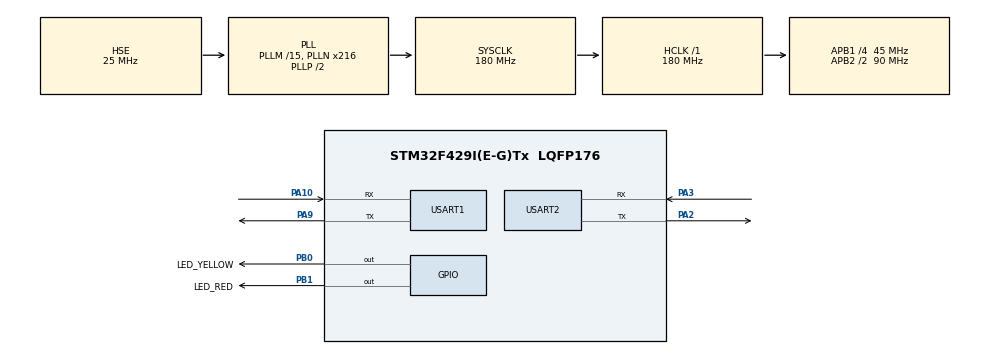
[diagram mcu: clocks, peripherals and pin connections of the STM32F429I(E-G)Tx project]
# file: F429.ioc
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Mcu.Family=STM32F4
Mcu.Name=STM32F429I(E-G)Tx
Mcu.Package=LQFP176
NVIC.PriorityGroup=NVIC_PRIORITYGROUP_4
NVIC.TIM4_IRQn=true\:3\:0\:true\:false\:true\:true\:true\:true
NVIC.USART2_IRQn=true\:2\:0\:true\:false\:true\:true\:true\:true
PA10.Mode=Asynchronous
PA10.Signal=USART1_RX
PA13.Mode=Serial_Wire
PA13.Signal=SYS_JTMS-SWDIO
PA14.Mode=Serial_Wire
PA14.Signal=SYS_JTCK-SWCLK
PA2.Mode=Asynchronous
PA2.Signal=USART2_TX
PA3.Mode=Asynchronous
PA3.Signal=USART2_RX
PA9.Mode=Asynchronous
PA9.Signal=USART1_TX
PB0.GPIO_Label=LED_YELLOW
PB0.PinState=GPIO_PIN_RESET
PB0.Signal=GPIO_Output
PB1.GPIO_Label=LED_RED
PB1.Signal=GPIO_Output
PH0/OSC_IN.Mode=HSE-External-Oscillator
PH0/OSC_IN.Signal=RCC_OSC_IN
PH1/OSC_OUT.Mode=HSE-External-Oscillator
PH1/OSC_OUT.Signal=RCC_OSC_OUT
ProjectManager.HeapSize=0x200
ProjectManager.StackSize=0x400
ProjectManager.TargetToolchain=MDK-ARM V5
RCC.48MHZClocksFreq_Value=90000000
RCC.AHBFreq_Value=180000000
RCC.APB1CLKDivider=RCC_HCLK_DIV4
RCC.APB1Freq_Value=45000000
RCC.APB1TimFreq_Value=90000000
RCC.APB2CLKDivider=RCC_HCLK_DIV2
RCC.APB2Freq_Value=90000000
RCC.APB2TimFreq_Value=180000000
RCC.CortexFreq_Value=180000000
RCC.HCLKFreq_Value=180000000
RCC.HSE_VALUE=25000000
RCC.HSI_VALUE=16000000
RCC.LSE_VALUE=32768
RCC.PLLM=15
RCC.PLLN=216
RCC.PLLSourceVirtual=RCC_PLLSOURCE_HSE
RCC.SYSCLKFreq_VALUE=180000000
RCC.SYSCLKSource=RCC_SYSCLKSOURCE_PLLCLK
RCC.VCOOutputFreq_Value=360000000
TIM4.Period=35
TIM4.Prescaler=4500-1
USART1.VirtualMode=VM_ASYNC
USART2.VirtualMode=VM_ASYNC
VP_TIM4_VS_ClockSourceINT.Mode=Internal
board=custom

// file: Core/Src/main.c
/* USER CODE BEGIN Header */
/**
  ******************************************************************************
  * @file           : main.c
  * @brief          : Main program body
  ******************************************************************************
  * @attention
  *
  * <h2><center>&copy; Copyright (c) 2022 STMicroelectronics.
  * All rights reserved.</center></h2>
  *
  * This software component is licensed by ST under BSD 3-Clause license,
  * the "License"; You may not use this file except in compliance with the
  * License. You may obtain a copy of the License at:
  *                        opensource.org/licenses/BSD-3-Clause
  *
  ******************************************************************************
  */
/* USER CODE END Header */
#include "main.h"
#include "tim.h"
#include "usart.h"
#include "gpio.h"

/* USER CODE BEGIN Includes */
#include <stdarg.h>
#include <stdio.h>
#include <string.h>

#include "mb.h"
//#include "sys.h"

/* USER CODE END Includes */

/* USER CODE BEGIN PV */
#define REG_INPUT_START     0x0001U //寻址地址是从1开始的
#define REG_INPUT_NREGS 4

#define REG_HOLDING_START               ( 1 )
#define REG_HOLDING_NREGS               ( 32 )
/* ----------------------- Static variables ---------------------------------*/
static uint16_t   usRegInputStart = REG_INPUT_START;
static uint16_t   usRegInputBuf[REG_INPUT_NREGS]={0x01,0x02,0x03,0x04};

static USHORT   usRegHoldingStart = REG_HOLDING_START;
static USHORT   usRegHoldingBuf[REG_HOLDING_NREGS];

/* USER CODE END PV */

void SystemClock_Config(void);

int main(void)
{

  /* MCU Configuration--------------------------------------------------------*/

  /* Reset of all peripherals, Initializes the Flash interface and the Systick. */
  HAL_Init();

  /* Configure the system clock */
  SystemClock_Config();

  /* Initialize all configured peripherals */
  MX_GPIO_Init();
  MX_USART2_UART_Init();
  MX_TIM4_Init();
  MX_USART1_UART_Init();
  /* USER CODE BEGIN 2 */
  __HAL_TIM_CLEAR_FLAG(&htim4, TIM_FLAG_UPDATE);
  eMBInit(MB_RTU, 0x01, 1, 9600, MB_PAR_ODD);
	eMBEnable();
  /* USER CODE END 2 */

  /* Infinite loop */
  /* USER CODE BEGIN WHILE */
  while (1)
  {
		eMBPoll();
	  HAL_GPIO_TogglePin(LED_RED_GPIO_Port, LED_RED_Pin);
		HAL_Delay(100);

//		LED_RED_ON();
//	//	printf("led red on\n");
//		HAL_Delay(1000);
//		LED_RED_OFF();
//		printf("led red off\n");
//		HAL_Delay(1000);
    /* USER CODE END WHILE */

  }
}

void SystemClock_Config(void)
{
  RCC_OscInitTypeDef RCC_OscInitStruct = {0};
  RCC_ClkInitTypeDef RCC_ClkInitStruct = {0};

  /** Configure the main internal regulator output voltage
  */
  __HAL_RCC_PWR_CLK_ENABLE();
  __HAL_PWR_VOLTAGESCALING_CONFIG(PWR_REGULATOR_VOLTAGE_SCALE1);

  /** Initializes the RCC Oscillators according to the specified parameters
  * in the RCC_OscInitTypeDef structure.
  */
  RCC_OscInitStruct.OscillatorType = RCC_OSCILLATORTYPE_HSE;
  RCC_OscInitStruct.HSEState = RCC_HSE_ON;
  RCC_OscInitStruct.PLL.PLLState = RCC_PLL_ON;
  RCC_OscInitStruct.PLL.PLLSource = RCC_PLLSOURCE_HSE;
  RCC_OscInitStruct.PLL.PLLM = 15;
  RCC_OscInitStruct.PLL.PLLN = 216;
  RCC_OscInitStruct.PLL.PLLP = RCC_PLLP_DIV2;
  RCC_OscInitStruct.PLL.PLLQ = 4;
  if (HAL_RCC_OscConfig(&RCC_OscInitStruct) != HAL_OK)
  {
    Error_Handler();
  }

  /** Activate the Over-Drive mode
  */
  if (HAL_PWREx_EnableOverDrive() != HAL_OK)
  {
    Error_Handler();
  }

  /** Initializes the CPU, AHB and APB buses clocks
  */
  RCC_ClkInitStruct.ClockType = RCC_CLOCKTYPE_HCLK|RCC_CLOCKTYPE_SYSCLK
                              |RCC_CLOCKTYPE_PCLK1|RCC_CLOCKTYPE_PCLK2;
  RCC_ClkInitStruct.SYSCLKSource = RCC_SYSCLKSOURCE_PLLCLK;
  RCC_ClkInitStruct.AHBCLKDivider = RCC_SYSCLK_DIV1;
  RCC_ClkInitStruct.APB1CLKDivider = RCC_HCLK_DIV4;
  RCC_ClkInitStruct.APB2CLKDivider = RCC_HCLK_DIV2;

  if (HAL_RCC_ClockConfig(&RCC_ClkInitStruct, FLASH_LATENCY_5) != HAL_OK)
  {
    Error_Handler();
  }
}

/* USER CODE BEGIN 4 */

eMBErrorCode
eMBRegInputCB( UCHAR * pucRegBuffer, USHORT usAddress, USHORT usNRegs )
{
    eMBErrorCode    eStatus = MB_ENOERR;
    int             iRegIndex;

    if( ( usAddress >= REG_INPUT_START )
        && ( usAddress + usNRegs <= REG_INPUT_START + REG_INPUT_NREGS ) )
    {
        iRegIndex = ( int )( usAddress - usRegInputStart );
        while( usNRegs > 0 )
        {
            *pucRegBuffer++ =
                ( unsigned char )( usRegInputBuf[iRegIndex] >> 8 );
            *pucRegBuffer++ =
                ( unsigned char )( usRegInputBuf[iRegIndex] & 0xFF );
            iRegIndex++;
            usNRegs--;
        }
    }
    else
    {
        eStatus = MB_ENOREG;
    }

    return eStatus;
}

eMBErrorCode
eMBRegHoldingCB( UCHAR * pucRegBuffer, USHORT usAddress, USHORT usNRegs, eMBRegisterMode eMode )
{
    eMBErrorCode    eStatus = MB_ENOERR;
    int             iRegIndex;

    if( ( usAddress >= REG_HOLDING_START ) && ( usAddress + usNRegs <= REG_HOLDING_START + REG_HOLDING_NREGS ) )
    {
        iRegIndex = ( int )( usAddress - usRegHoldingStart );
        switch ( eMode )
        {
        case MB_REG_READ:
            while( usNRegs > 0 )
            {
                *pucRegBuffer++ = ( unsigned char )( usRegHoldingBuf[iRegIndex] >> 8 );
                *pucRegBuffer++ = ( unsigned char )( usRegHoldingBuf[iRegIndex] & 0xFF );
                iRegIndex++;
                usNRegs--;
            }
            break;

        case MB_REG_WRITE:
            while( usNRegs > 0 )
            {
                usRegHoldingBuf[iRegIndex] = *pucRegBuffer++ << 8;
                usRegHoldingBuf[iRegIndex] |= *pucRegBuffer++;
                iRegIndex++;
                usNRegs--;
            }
        }
    }
    else
    {
        eStatus = MB_ENOREG;
    }
    return eStatus;
}

eMBErrorCode    eMBRegCoilsCB( UCHAR * pucRegBuffer, USHORT usAddress,
                               USHORT usNCoils, eMBRegisterMode eMode )
{
  eMBErrorCode    eStatus = MB_ENOERR;

	return eStatus;
}

eMBErrorCode    eMBRegDiscreteCB( UCHAR * pucRegBuffer, USHORT usAddress,
                                  USHORT usNDiscrete )
{
  eMBErrorCode    eStatus = MB_ENOERR;

	return eStatus;
}
/* USER CODE END 4 */

void Error_Handler(void)
{
  __disable_irq();
  while (1)
  {
  }
}
